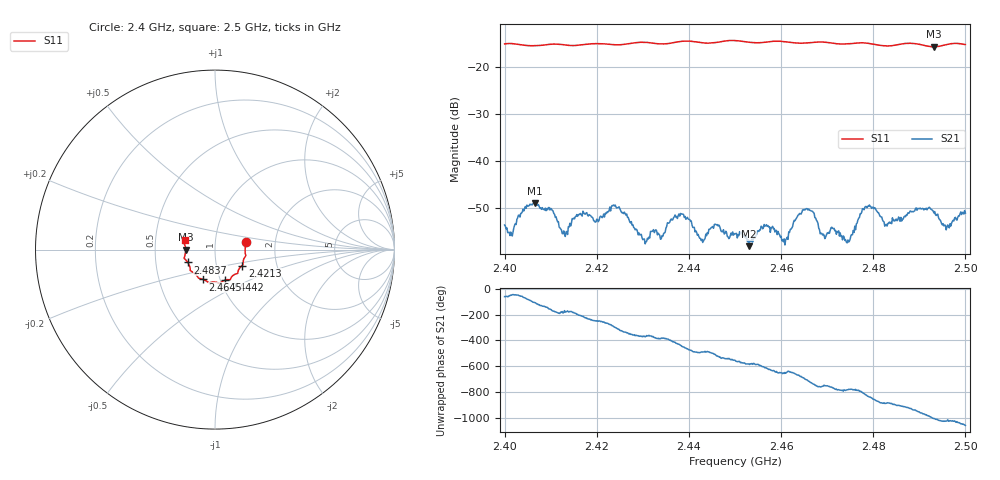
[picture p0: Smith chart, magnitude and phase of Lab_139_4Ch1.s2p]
# Hz S RI R 50
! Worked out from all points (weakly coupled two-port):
!   601 points, 2.4 GHz to 2.5 GHz, reference 50 ohm
!   highest |S21| = -48.89 dB at 2.4065 GHz (marker M1); lowest = -58.0 dB at 2.453 GHz (marker M2)
!   lowest |S11| = -15.7 dB at 2.4932 GHz (marker M3), VSWR 1.39, Z = 35.9 - j0.0468 ohm
!   |S11| at or under -10 dB: start of sweep to end of sweep
!   S12 and S22 are empty: the file has one direction only
!   S11 on the Smith chart (normalised r, x): 2.4 GHz: 1.41, +0.12; 2.4213 GHz: 1.33, -0.25; 2.4442 GHz: 1.05, -0.37; 2.4645 GHz: 0.83, -0.29; 2.4837 GHz: 0.73, -0.11; 2.5 GHz: 0.71, +0.07
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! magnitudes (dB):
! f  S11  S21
! 2.4 GHz  -15.1  -53.5
! 2.4065 GHz  -15.5  -48.9
! 2.413 GHz  -15.3  -55.5
! 2.4167 GHz  -15.3  -51.4
! 2.4213 GHz  -15.1  -51.8
! 2.4333 GHz  -15.1  -55.3
! 2.4383 GHz  -14.6  -51.1
! 2.4442 GHz  -15.0  -55.4
! 2.45 GHz  -14.4  -55.3
! 2.453 GHz  -14.8  -58.0
! 2.4568 GHz  -14.7  -53.4
! 2.461 GHz  -14.7  -56.6
! 2.4645 GHz  -15.0  -50.8
! 2.4667 GHz  -14.8  -50.6
! 2.469 GHz  -14.7  -55.6
! 2.4743 GHz  -15.1  -57.3
! 2.4787 GHz  -15.0  -49.9
! 2.4833 GHz  -15.5  -53.2
! 2.4837 GHz  -15.5  -53.1
! 2.4932 GHz  -15.7  -51.0
! 2.496 GHz  -15.3  -53.9
! 2.5 GHz  -15.3  -51.0
